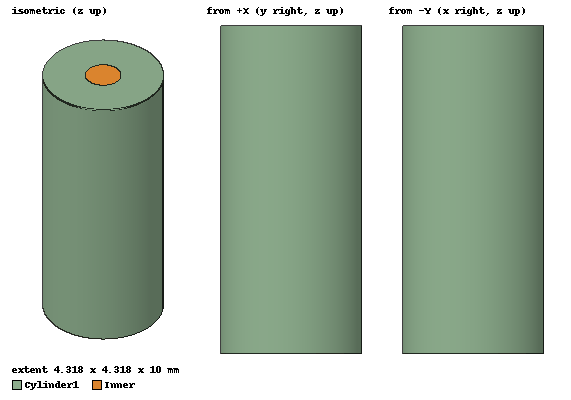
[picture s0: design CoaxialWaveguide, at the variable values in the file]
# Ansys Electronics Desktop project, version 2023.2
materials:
  vacuum: permittivity=1
  copper: permeability=0.999991 conductivity=58000000
  Teflon (tm): permittivity=2.1 dielectric_loss_tangent=0.001
  pec: conductivity=1e+30

design RectangularWaveguide (HFSS, HFSS Terminal Network, model units mm)
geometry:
  Box1 [vacuum] = box(corner=(0mm, 0mm, 0mm), size=(100mm, 22.86mm, 10mm))
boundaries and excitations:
  1: Wave Port Faces=Box1.face(+x) WavePortType=Modal NumModes=5 Modes{Mode1{CharImp=Zpi} Mode2{CharImp=Zpi} Mode3{CharImp=Zpi} Mode4{CharImp=Zpi} Mode5{CharImp=Zpi}}
  2: Wave Port Faces=Box1.face(-x) WavePortType=Modal NumModes=5 Modes{Mode1{CharImp=Zpi} Mode2{CharImp=Zpi} Mode3{CharImp=Zpi} Mode4{CharImp=Zpi} Mode5{CharImp=Zpi}}
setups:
  Setup1: HfssDriven Frequency=6GHz MaxDeltaS=0.002 MaximumPasses=8 MinimumPasses=5 MinimumConvergedPasses=1 PercentRefinement=30 BasisOrder=1 PortAccuracy=2 DrivenSolverType="Direct Solver"
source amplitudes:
  1:1: 1W 0deg
  1:2..1:5, 2:1..2:5: 0W 0deg

design CoaxialWaveguide (HFSS, HFSS Terminal Network, model units mm)
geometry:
  Inner [copper] = cylinder(axis=Z, base_centre=(0mm, 0mm, 0mm), radius=25mil, height=10mm)
  Cylinder1 [Teflon (tm)] = cylinder(axis=Z, base_centre=(0mm, 0mm, 0mm), radius=85mil, height=10mm)
  Inner1 = cylinder(axis=Z, base_centre=(0mm, 0mm, 0mm), radius=25mil, height=10mm)
  Cylinder1.subtract(Inner1)
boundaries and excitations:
  1: Wave Port Faces=Cylinder1.face(+z end) WavePortType=Modal NumModes=2 Modes{Mode1{CharImp=Zpi} Mode2{CharImp=Zpi}}
  2: Wave Port Faces=Cylinder1.face(-z end) WavePortType=Modal NumModes=2 Modes{Mode1{CharImp=Zpi} Mode2{CharImp=Zpi}}
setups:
  Setup1: HfssDriven Frequency=25GHz MaxDeltaS=0.0005 MaximumPasses=10 MinimumPasses=1 MinimumConvergedPasses=1 PercentRefinement=30 BasisOrder=1 PortAccuracy=2 DrivenSolverType="Direct Solver"
    sweep Sweep: 12.5GHz to 37.5GHz, 401 points; Type=Interpolating InterpTolerance=0.5 InterpMaxSolns=250 PassivityErrorTolerance=0.0001
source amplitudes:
  1:1, 2:1, 2:2: 0W 0deg
  1:2: 1W 0deg
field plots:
  Vector_E1: E Field over Cylinder1.face(side) on Setup1 : LastAdaptive at Freq=25GHz Phase=0deg
  Vector_E2: E Field in Cylinder1 on Setup1 : LastAdaptive at Freq=25GHz Phase=0deg

design CircularWaveguide (HFSS, HFSS Terminal Network, model units mm)
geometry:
  Cylinder1 [vacuum] = cylinder(axis=Z, base_centre=(0mm, 0mm, 0mm), radius=0.5cm, height=20mm)
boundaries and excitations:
  1: Wave Port Faces=Cylinder1.face(+z end) WavePortType=Modal NumModes=3 Modes{Mode1{CharImp=Zpi} Mode2{CharImp=Zpi} Mode3{CharImp=Zpi}}
  2: Wave Port Faces=Cylinder1.face(-z end) WavePortType=Modal NumModes=3 Modes{Mode1{CharImp=Zpi} Mode2{CharImp=Zpi} Mode3{CharImp=Zpi}}
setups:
  Setup1: HfssDriven Frequency=23.5GHz MaxDeltaS=0.001 MaximumPasses=8 MinimumPasses=1 MinimumConvergedPasses=5 PercentRefinement=30 BasisOrder=1 PortAccuracy=2 DrivenSolverType="Direct Solver"
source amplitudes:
  1:1, 1:3, 2:1, 2:2, 2:3: 0W 0deg
  1:2: 1W 0deg
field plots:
  Vector_H1: H Field over Cylinder1.face(+z end) on Setup1 : LastAdaptive at Freq=23.5GHz Phase=0deg
  Vector_H2: H Field over Cylinder1.face(side) on Setup1 : LastAdaptive at Freq=23.5GHz Phase=0deg
